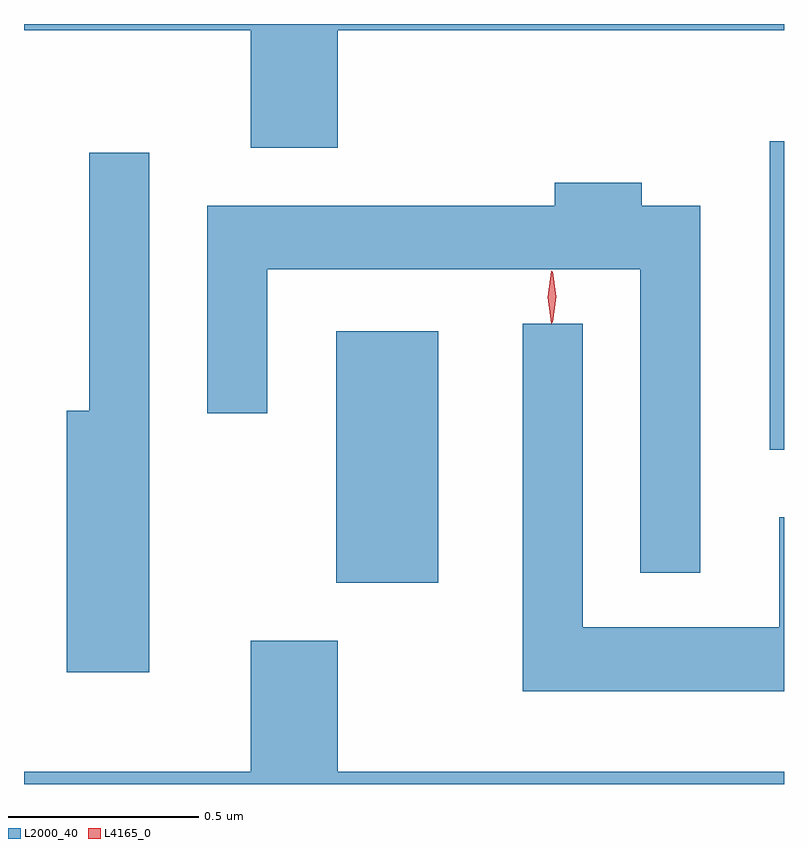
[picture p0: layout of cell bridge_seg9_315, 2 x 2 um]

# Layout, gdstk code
import gdstk
lib = gdstk.Library(unit=1e-6, precision=1e-09)
def R(c, l, rs):  # rectangles x0, y0, x1, y1
    for r in rs: c.add(gdstk.rectangle(r[:2], r[2:], *l))
def P(c, l, *ps):  # polygons
    for p in ps: c.add(gdstk.Polygon(p, *l))
L2000_40 = (2000, 40)
L4165_0 = (4165, 0)

bridge_seg9_315 = lib.new_cell('bridge_seg9_315')
R(bridge_seg9_315, L2000_40, [(968.216,2079.161,968.484,2079.824), (969.356,2079.511,969.394,2080.324)])
P(bridge_seg9_315, L2000_40, [(968.219,2080.616),(969.394,2080.616),(969.394,2080.632),(967.394,2080.632),(967.394,2080.616),(967.991,2080.616),(967.991,2080.306),(968.219,2080.306)],
  [(967.724,2080.293),(967.566,2080.293),(967.566,2079.614),(967.506,2079.614),(967.506,2078.926),(967.724,2078.926)],
  [(969.174,2080.154),(969.019,2080.154),(969.019,2080.214),(968.791,2080.214),(968.791,2080.154),(967.876,2080.154),(967.876,2079.608),(968.034,2079.608),(968.034,2079.986),(969.016,2079.986),(969.016,2079.188),(969.174,2079.188)],
  [(969.394,2079.334),(969.381,2079.334),(969.381,2079.044),(968.864,2079.044),(968.864,2079.843),(968.706,2079.843),(968.706,2078.876),(969.394,2078.876)],
  [(969.394,2078.664),(968.219,2078.664),(968.219,2079.009),(967.991,2079.009),(967.991,2078.664),(967.394,2078.664),(967.394,2078.632),(969.394,2078.632)])
P(bridge_seg9_315, L4165_0, [(968.782,2079.843),(968.782,2079.844),(968.772,2079.913),(968.782,2079.982),(968.782,2079.983),(968.783,2079.982),(968.792,2079.913),(968.783,2079.844)],
  [(968.784,2079.847),(968.775,2079.914),(968.784,2079.98),(968.785,2079.98),(968.785,2079.98),(968.795,2079.914),(968.785,2079.847),(968.785,2079.847)])

lib.write_gds('bridge_seg9_315.gds')
